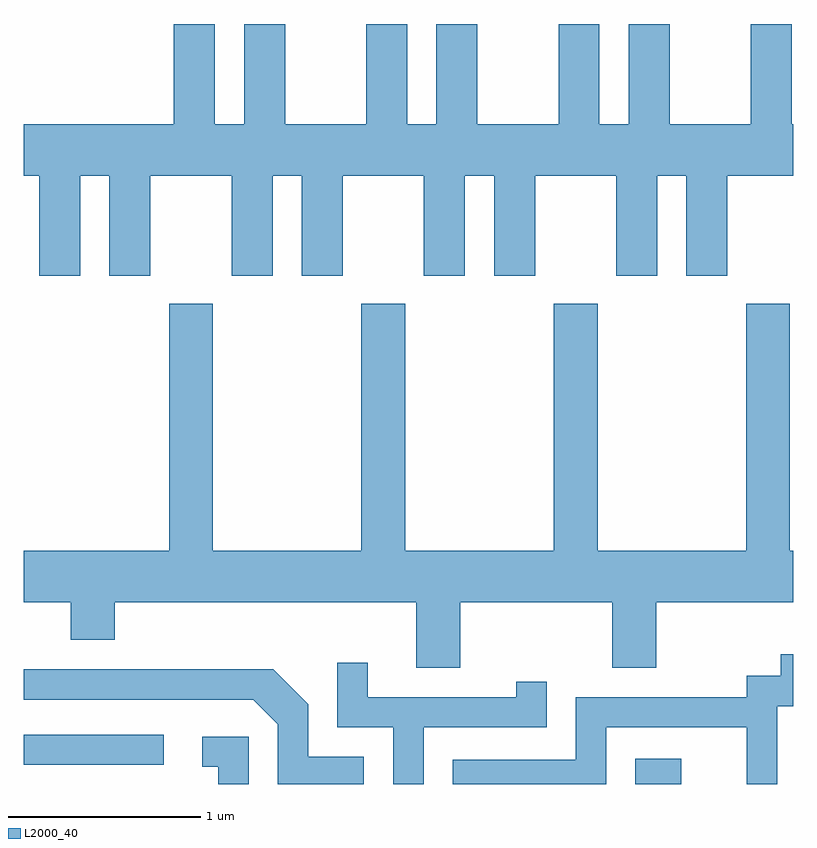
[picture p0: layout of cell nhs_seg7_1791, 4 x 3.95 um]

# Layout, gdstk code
import gdstk
lib = gdstk.Library(unit=1e-6, precision=1e-09)
def R(c, l, rs):  # rectangles x0, y0, x1, y1
    for r in rs: c.add(gdstk.rectangle(r[:2], r[2:], *l))
def P(c, l, *ps):  # polygons
    for p in ps: c.add(gdstk.Polygon(p, *l))
L2000_40 = (2000, 40)

nhs_seg7_1791 = lib.new_cell('nhs_seg7_1791')
R(nhs_seg7_1791, L2000_40, [(242.791,1722.252,243.028,1722.384), (239.611,1722.351,240.338,1722.509)])
P(nhs_seg7_1791, L2000_40, [(239.904,1725.416),(240.056,1725.416),(240.056,1724.896),(240.269,1724.896),(240.269,1725.416),(240.691,1725.416),(240.691,1724.896),(240.904,1724.896),(240.904,1725.416),(241.056,1725.416),(241.056,1724.896),(241.269,1724.896),(241.269,1725.416),(241.691,1725.416),(241.691,1724.896),(241.904,1724.896),(241.904,1725.416),(242.056,1725.416),(242.056,1724.896),(242.269,1724.896),(242.269,1725.416),(242.691,1725.416),(242.691,1724.896),(242.904,1724.896),(242.904,1725.416),(243.056,1725.416),(243.056,1724.896),(243.269,1724.896),(243.269,1725.416),(243.611,1725.416),(243.611,1725.684),(243.604,1725.684),(243.604,1726.204),(243.391,1726.204),(243.391,1725.684),(242.969,1725.684),(242.969,1726.204),(242.756,1726.204),(242.756,1725.684),(242.604,1725.684),(242.604,1726.204),(242.391,1726.204),(242.391,1725.684),(241.969,1725.684),(241.969,1726.204),(241.756,1726.204),(241.756,1725.684),(241.604,1725.684),(241.604,1726.204),(241.391,1726.204),(241.391,1725.684),(240.969,1725.684),(240.969,1726.204),(240.756,1726.204),(240.756,1725.684),(240.604,1725.684),(240.604,1726.204),(240.391,1726.204),(240.391,1725.684),(239.611,1725.684),(239.611,1725.416),(239.691,1725.416),(239.691,1724.896),(239.904,1724.896)],
  [(241.879,1723.196),(242.671,1723.196),(242.671,1722.856),(242.899,1722.856),(242.899,1723.196),(243.611,1723.196),(243.611,1723.464),(243.594,1723.464),(243.594,1724.749),(243.366,1724.749),(243.366,1723.464),(242.594,1723.464),(242.594,1724.749),(242.366,1724.749),(242.366,1723.464),(241.594,1723.464),(241.594,1724.749),(241.366,1724.749),(241.366,1723.464),(240.594,1723.464),(240.594,1724.749),(240.366,1724.749),(240.366,1723.464),(239.611,1723.464),(239.611,1723.196),(239.856,1723.196),(239.856,1723.001),(240.084,1723.001),(240.084,1723.196),(241.651,1723.196),(241.651,1722.856),(241.879,1722.856)],
  [(242.639,1722.546),(243.371,1722.546),(243.371,1722.252),(243.529,1722.252),(243.529,1722.656),(243.611,1722.656),(243.611,1722.928),(243.546,1722.928),(243.546,1722.814),(243.371,1722.814),(243.371,1722.704),(242.481,1722.704),(242.481,1722.379),(241.841,1722.379),(241.841,1722.252),(242.639,1722.252)],
  [(241.689,1722.546),(242.329,1722.546),(242.329,1722.783),(242.171,1722.783),(242.171,1722.704),(241.399,1722.704),(241.399,1722.883),(241.241,1722.883),(241.241,1722.546),(241.531,1722.546),(241.531,1722.252),(241.689,1722.252)],
  [(241.379,1722.394),(241.089,1722.394),(241.089,1722.667),(240.907,1722.849),(239.611,1722.849),(239.611,1722.691),(240.804,1722.691),(240.931,1722.564),(240.931,1722.252),(241.379,1722.252)],
  [(240.779,1722.499),(240.538,1722.499),(240.538,1722.341),(240.621,1722.341),(240.621,1722.252),(240.779,1722.252)])

lib.write_gds('nhs_seg7_1791.gds')
